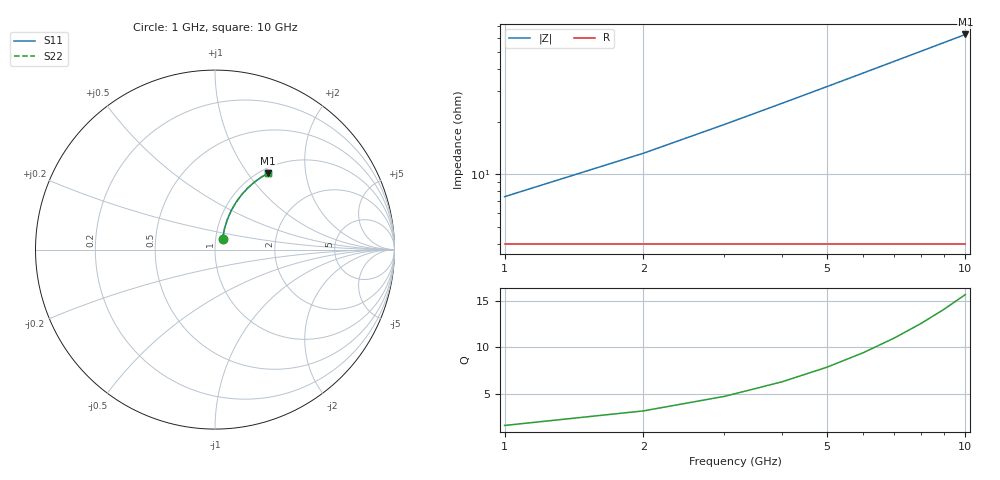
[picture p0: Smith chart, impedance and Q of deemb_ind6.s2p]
! Created Mon Nov  1 17:16:05 2021
# hz S ma R 50
! 2 Port Network Data from SP1.SP block
! freq  magS11  angS11  magS21  angS21  magS12  angS12  magS22  angS22
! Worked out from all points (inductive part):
!   10 points, 1 GHz to 10 GHz, reference 50 ohm
!   read as one part in series: L = 1 nH near 2 GHz
!   highest Q = 15.7 at 10 GHz (marker M1), where L = 1 nH
1e9  0.07149 54.1  0.9598 -3.5  0.9598 -3.5  0.07149 54.1
2e9  0.1259 65.5  0.9546 -6.9  0.9546 -6.9  0.1259 65.5
3e9  0.1823 67.7  0.9461 -10.3  0.9461 -10.3  0.1823 67.7
4e9  0.2379 67.4  0.9346 -13.6  0.9346 -13.6  0.2379 67.4
5e9  0.2915 65.9  0.9205 -16.8  0.9205 -16.8  0.2915 65.9
6e9  0.3427 64.0  0.904 -19.9  0.904 -19.9  0.3427 64.0
7e9  0.3911 61.9  0.8856 -22.9  0.8856 -22.9  0.3911 61.9
8e9  0.4365 59.7  0.8657 -25.8  0.8657 -25.8  0.4365 59.7
9e9  0.4789 57.4  0.8447 -28.5  0.8447 -28.5  0.4789 57.4
1e10  0.5182 55.2  0.823 -31.1  0.823 -31.1  0.5182 55.2
